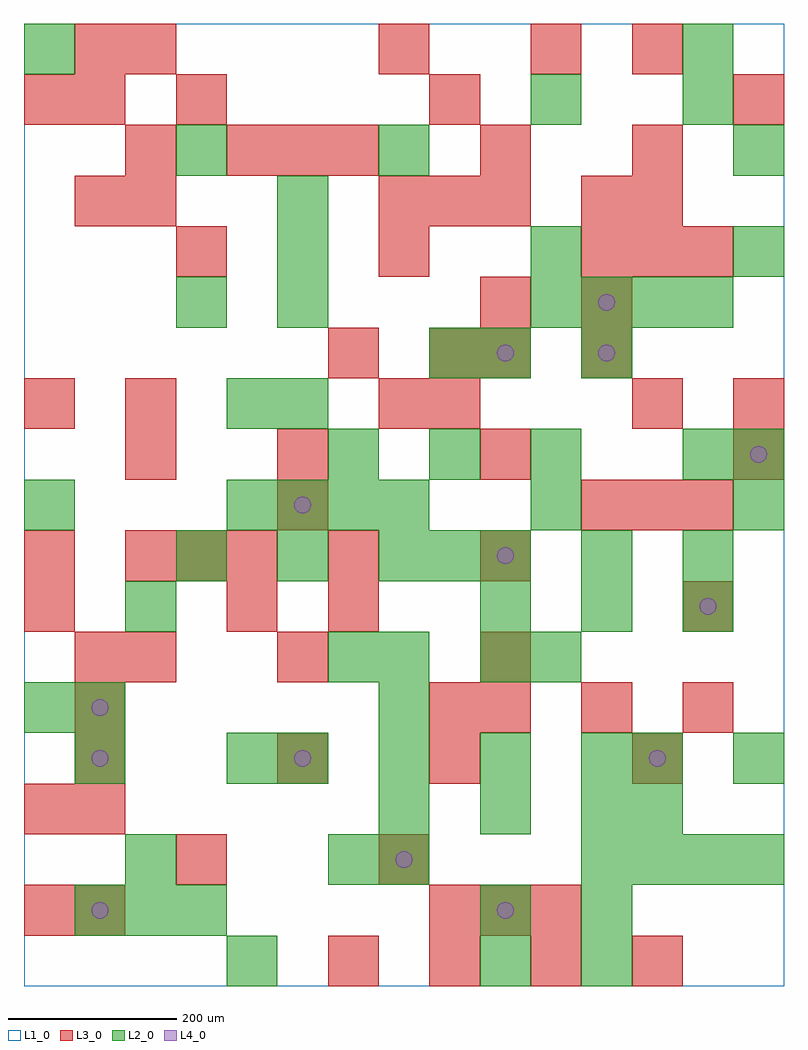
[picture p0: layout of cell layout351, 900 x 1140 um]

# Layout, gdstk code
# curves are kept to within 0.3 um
import gdstk
lib = gdstk.Library(unit=1e-6, precision=1e-09)
def R(c, l, rs):  # rectangles x0, y0, x1, y1
    for r in rs: c.add(gdstk.rectangle(r[:2], r[2:], *l))
def A(c, l, x, y, w, h, nx, ny, dx, dy):  # array of equal rectangles
    R(c, l, [(x+i*dx, y+j*dy, x+i*dx+w, y+j*dy+h) for i in range(nx) for j in range(ny)])
def P(c, l, *ps):  # polygons
    for p in ps: c.add(gdstk.Polygon(p, *l))
L1_0 = (1, 0)
L2_0 = (2, 0)
L3_0 = (3, 0)
L4_0 = (4, 0)

layout351 = lib.new_cell('layout351')
R(layout351, L1_0, [(0,0,900,1140)])
A(layout351, L2_0, 60, 60, 60, 60, 3, 1, 60, 0)
A(layout351, L2_0, 660, 120, 60, 60, 4, 1, 60, 0)
A(layout351, L2_0, 420, 180, 60, 60, 3, 1, 120, 0)
A(layout351, L2_0, 300, 240, 60, 60, 4, 1, 120, 0)
A(layout351, L2_0, 540, 420, 60, 60, 3, 2, 120, 60)
A(layout351, L2_0, 180, 480, 60, 60, 3, 1, 120, 0)
A(layout351, L2_0, 240, 540, 60, 60, 4, 1, 60, 0)
A(layout351, L2_0, 360, 600, 60, 60, 3, 1, 120, 0)
A(layout351, L2_0, 300, 780, 60, 60, 1, 3, 0, 60)
A(layout351, L2_0, 600, 780, 60, 60, 4, 1, 60, 0)
R(layout351, L2_0, [(240,0,300,60), (540,0,600,60), (660,0,720,60), (540,60,600,120), (660,60,720,120), (120,120,180,180), (360,120,420,180), (420,120,480,180), (720,180,780,240), (60,240,120,300), (240,240,300,300), (720,240,780,300), (840,240,900,300), (0,300,60,360), (60,300,120,360), (420,300,480,360), (360,360,420,420), (420,360,480,420), (540,360,600,420), (600,360,660,420), (120,420,180,480), (480,480,540,540), (0,540,60,600), (600,540,660,600), (840,540,900,600), (780,600,840,660), (840,600,900,660), (240,660,300,720), (300,660,360,720), (480,720,540,780), (540,720,600,780), (660,720,720,780), (180,780,240,840), (600,840,660,900), (840,840,900,900), (180,960,240,1020), (420,960,480,1020), (840,960,900,1020), (600,1020,660,1080), (780,1020,840,1080), (0,1080,60,1140), (780,1080,840,1140)])
A(layout351, L3_0, 360, 0, 60, 60, 4, 1, 120, 0)
A(layout351, L3_0, 480, 60, 60, 60, 3, 1, 60, 0)
A(layout351, L3_0, 60, 180, 60, 60, 1, 4, 0, 60)
A(layout351, L3_0, 540, 300, 60, 60, 3, 1, 120, 0)
A(layout351, L3_0, 540, 360, 60, 60, 1, 4, 0, 120)
A(layout351, L3_0, 120, 480, 60, 60, 3, 1, 60, 0)
A(layout351, L3_0, 660, 540, 60, 60, 3, 1, 60, 0)
A(layout351, L3_0, 180, 840, 60, 60, 3, 1, 240, 0)
A(layout351, L3_0, 720, 840, 60, 60, 1, 3, 0, 60)
A(layout351, L3_0, 420, 900, 60, 60, 3, 1, 60, 0)
A(layout351, L3_0, 240, 960, 60, 60, 3, 1, 60, 0)
R(layout351, L3_0, [(0,60,60,120), (60,60,120,120), (180,120,240,180), (420,120,480,180), (0,180,60,240), (300,240,360,300), (480,240,540,300), (720,240,780,300), (480,300,540,360), (120,360,180,420), (300,360,360,420), (0,420,60,480), (240,420,300,480), (360,420,420,480), (780,420,840,480), (0,480,60,540), (360,480,420,540), (300,540,360,600), (120,600,180,660), (300,600,360,660), (840,600,900,660), (0,660,60,720), (120,660,180,720), (420,660,480,720), (480,660,540,720), (720,660,780,720), (840,660,900,720), (360,720,420,780), (480,720,540,780), (660,720,720,780), (540,780,600,840), (660,780,720,840), (780,840,840,900), (60,900,120,960), (120,900,180,960), (660,900,720,960), (120,960,180,1020), (540,960,600,1020), (0,1020,60,1080), (60,1020,120,1080), (180,1020,240,1080), (480,1020,540,1080), (840,1020,900,1080), (60,1080,120,1140), (120,1080,180,1140), (420,1080,480,1140), (600,1080,660,1140), (720,1080,780,1140)])
P(layout351, L4_0, [(100,90),(99.239,93.827),(97.071,97.071),(93.827,99.239),(90,100),(86.173,99.239),(82.929,97.071),(80.761,93.827),(80,90),(80.761,86.173),(82.929,82.929),(86.173,80.761),(90,80),(93.827,80.761),(97.071,82.929),(99.239,86.173)],
  [(100,270),(99.239,273.827),(97.071,277.071),(93.827,279.239),(90,280),(86.173,279.239),(82.929,277.071),(80.761,273.827),(80,270),(80.761,266.173),(82.929,262.929),(86.173,260.761),(90,260),(93.827,260.761),(97.071,262.929),(99.239,266.173)],
  [(100,330),(99.239,333.827),(97.071,337.071),(93.827,339.239),(90,340),(86.173,339.239),(82.929,337.071),(80.761,333.827),(80,330),(80.761,326.173),(82.929,322.929),(86.173,320.761),(90,320),(93.827,320.761),(97.071,322.929),(99.239,326.173)],
  [(340,270),(339.239,273.827),(337.071,277.071),(333.827,279.239),(330,280),(326.173,279.239),(322.929,277.071),(320.761,273.827),(320,270),(320.761,266.173),(322.929,262.929),(326.173,260.761),(330,260),(333.827,260.761),(337.071,262.929),(339.239,266.173)],
  [(340,570),(339.239,573.827),(337.071,577.071),(333.827,579.239),(330,580),(326.173,579.239),(322.929,577.071),(320.761,573.827),(320,570),(320.761,566.173),(322.929,562.929),(326.173,560.761),(330,560),(333.827,560.761),(337.071,562.929),(339.239,566.173)],
  [(460,150),(459.239,153.827),(457.071,157.071),(453.827,159.239),(450,160),(446.173,159.239),(442.929,157.071),(440.761,153.827),(440,150),(440.761,146.173),(442.929,142.929),(446.173,140.761),(450,140),(453.827,140.761),(457.071,142.929),(459.239,146.173)],
  [(580,90),(579.239,93.827),(577.071,97.071),(573.827,99.239),(570,100),(566.173,99.239),(562.929,97.071),(560.761,93.827),(560,90),(560.761,86.173),(562.929,82.929),(566.173,80.761),(570,80),(573.827,80.761),(577.071,82.929),(579.239,86.173)],
  [(580,510),(579.239,513.827),(577.071,517.071),(573.827,519.239),(570,520),(566.173,519.239),(562.929,517.071),(560.761,513.827),(560,510),(560.761,506.173),(562.929,502.929),(566.173,500.761),(570,500),(573.827,500.761),(577.071,502.929),(579.239,506.173)],
  [(580,750),(579.239,753.827),(577.071,757.071),(573.827,759.239),(570,760),(566.173,759.239),(562.929,757.071),(560.761,753.827),(560,750),(560.761,746.173),(562.929,742.929),(566.173,740.761),(570,740),(573.827,740.761),(577.071,742.929),(579.239,746.173)],
  [(700,750),(699.239,753.827),(697.071,757.071),(693.827,759.239),(690,760),(686.173,759.239),(682.929,757.071),(680.761,753.827),(680,750),(680.761,746.173),(682.929,742.929),(686.173,740.761),(690,740),(693.827,740.761),(697.071,742.929),(699.239,746.173)],
  [(700,810),(699.239,813.827),(697.071,817.071),(693.827,819.239),(690,820),(686.173,819.239),(682.929,817.071),(680.761,813.827),(680,810),(680.761,806.173),(682.929,802.929),(686.173,800.761),(690,800),(693.827,800.761),(697.071,802.929),(699.239,806.173)],
  [(760,270),(759.239,273.827),(757.071,277.071),(753.827,279.239),(750,280),(746.173,279.239),(742.929,277.071),(740.761,273.827),(740,270),(740.761,266.173),(742.929,262.929),(746.173,260.761),(750,260),(753.827,260.761),(757.071,262.929),(759.239,266.173)],
  [(820,450),(819.239,453.827),(817.071,457.071),(813.827,459.239),(810,460),(806.173,459.239),(802.929,457.071),(800.761,453.827),(800,450),(800.761,446.173),(802.929,442.929),(806.173,440.761),(810,440),(813.827,440.761),(817.071,442.929),(819.239,446.173)],
  [(880,630),(879.239,633.827),(877.071,637.071),(873.827,639.239),(870,640),(866.173,639.239),(862.929,637.071),(860.761,633.827),(860,630),(860.761,626.173),(862.929,622.929),(866.173,620.761),(870,620),(873.827,620.761),(877.071,622.929),(879.239,626.173)])

lib.write_gds('layout351.gds')
